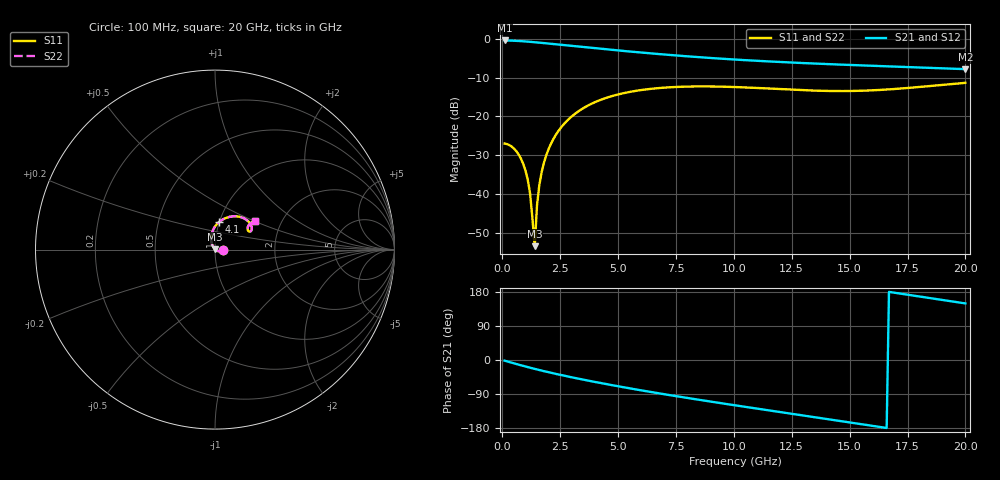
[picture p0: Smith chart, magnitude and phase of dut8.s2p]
! Created with skrf 1.9.0 (http://scikit-rf.org).
# GHz S RI R 50.0
!freq ReS11 ImS11 ReS21 ImS21 ReS12 ImS12 ReS22 ImS22
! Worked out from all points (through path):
!   200 points, 100 MHz to 20 GHz, reference 50 ohm
!   highest |S21| = -0.40 dB at 100 MHz (marker M1); lowest = -7.8 dB at 20 GHz (marker M2)
!   group delay of S21, straight-line fit = 27.7 ps
!   lowest |S11| = -53.5 dB at 1.4 GHz (marker M3), VSWR 1.00, Z = 50 + j0.208 ohm
!   |S11| at or under -10 dB: start of sweep to end of sweep
!   |S22| runs from -53.5 to -11.3 dB; largest |S21 - S12| = 2.2e-15
!   S11 on the Smith chart (normalised r, x): 100 MHz: 1.09, -0.00; 4.1 GHz: 1.00, +0.32; 20 GHz: 1.47, +0.50
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0.1  0.0447 -0.00186  0.9542 -0.0299  0.9542 -0.0299  0.0447 -0.00186
0.6  0.0342 -0.0107  0.9283 -0.1716  0.9283 -0.1716  0.0342 -0.0107
0.8  0.0265 -0.0111  0.9092 -0.2241  0.9092 -0.2241  0.0265 -0.0111
1  0.0179 -0.00916  0.8862 -0.2732  0.8862 -0.2732  0.0179 -0.00916
1.1  0.0134 -0.00725  0.8734 -0.2964  0.8734 -0.2964  0.0134 -0.00725
1.2  0.00897 -0.00472  0.8599 -0.3187  0.8599 -0.3187  0.00897 -0.00472
1.4  0.000451 0.00207  0.8312 -0.3606  0.8312 -0.3606  0.000451 0.00207
1.5  -0.00348 0.00628  0.8161 -0.3802  0.8161 -0.3802  -0.00348 0.00628
1.6  -0.00713 0.011  0.8006 -0.3988  0.8006 -0.3988  -0.00713 0.011
1.7  -0.0104 0.0161  0.7848 -0.4166  0.7848 -0.4166  -0.0104 0.0161
1.9  -0.0159 0.0274  0.7524 -0.4497  0.7524 -0.4497  -0.0159 0.0274
2.2  -0.0209 0.0462  0.7025 -0.4934  0.7025 -0.4934  -0.0209 0.0462
2.5  -0.0219 0.0662  0.6518 -0.5306  0.6518 -0.5306  -0.0219 0.0662
3  -0.0153 0.0989  0.5673 -0.5804  0.5673 -0.5804  -0.0153 0.0989
3.5  -0.000296 0.1279  0.484 -0.6168  0.484 -0.6168  -0.000296 0.1279
4.1  0.025 0.1552  0.3871 -0.6457  0.3871 -0.6457  0.025 0.1552
5.3  0.084 0.1831  0.2081 -0.6645  0.2081 -0.6645  0.084 0.1831
6.8  0.148 0.1796  0.0181 -0.6358  0.0181 -0.6358  0.148 0.1796
10.1  0.2047 0.1236  -0.2706 -0.4678  -0.2706 -0.4678  0.2047 0.1236
13.4  0.1908 0.1005  -0.4179 -0.2402  -0.4179 -0.2402  0.1908 0.1005
16.7  0.1835 0.1273  -0.4419 0.00214  -0.4419 0.00214  0.1835 0.1273
20  0.2206 0.1577  -0.3501 0.208  -0.3501 0.208  0.2206 0.1577
